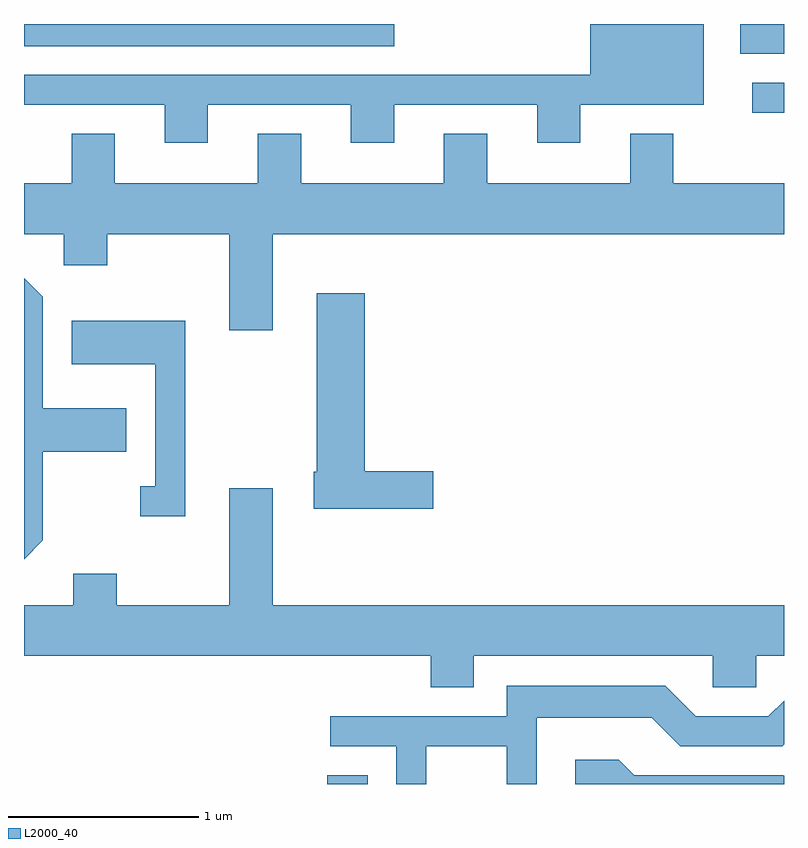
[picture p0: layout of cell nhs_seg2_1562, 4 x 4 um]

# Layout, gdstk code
import gdstk
lib = gdstk.Library(unit=1e-6, precision=1e-09)
def R(c, l, rs):  # rectangles x0, y0, x1, y1
    for r in rs: c.add(gdstk.rectangle(r[:2], r[2:], *l))
def P(c, l, *ps):  # polygons
    for p in ps: c.add(gdstk.Polygon(p, *l))
L2000_40 = (2000, 40)

nhs_seg2_1562 = lib.new_cell('nhs_seg2_1562')
R(nhs_seg2_1562, L2000_40, [(231.206,1109.802,231.419,1109.849), (233.443,1113.336,233.611,1113.494), (233.381,1113.646,233.611,1113.802), (229.611,1113.686,231.559,1113.802)])
P(nhs_seg2_1562, L2000_40, [(230.579,1113.376),(231.331,1113.376),(231.331,1113.176),(231.559,1113.176),(231.559,1113.376),(232.311,1113.376),(232.311,1113.176),(232.539,1113.176),(232.539,1113.376),(233.189,1113.376),(233.189,1113.802),(232.591,1113.802),(232.591,1113.534),(229.611,1113.534),(229.611,1113.376),(230.351,1113.376),(230.351,1113.176),(230.579,1113.176)],
  [(230.919,1112.696),(233.611,1112.696),(233.611,1112.964),(233.029,1112.964),(233.029,1113.224),(232.801,1113.224),(232.801,1112.964),(232.049,1112.964),(232.049,1113.224),(231.821,1113.224),(231.821,1112.964),(231.069,1112.964),(231.069,1113.224),(230.841,1113.224),(230.841,1112.964),(230.089,1112.964),(230.089,1113.224),(229.861,1113.224),(229.861,1112.964),(229.611,1112.964),(229.611,1112.696),(229.821,1112.696),(229.821,1112.531),(230.049,1112.531),(230.049,1112.696),(230.691,1112.696),(230.691,1112.191),(230.919,1112.191)],
  [(229.709,1111.084),(229.709,1111.551),(230.149,1111.551),(230.149,1111.779),(229.709,1111.779),(229.709,1112.367),(229.611,1112.465),(229.611,1110.985)],
  [(231.764,1111.449),(231.404,1111.449),(231.404,1112.384),(231.151,1112.384),(231.151,1111.445),(231.136,1111.445),(231.136,1111.251),(231.764,1111.251)],
  [(230.459,1112.239),(229.861,1112.239),(229.861,1112.011),(230.301,1112.011),(230.301,1111.369),(230.223,1111.369),(230.223,1111.211),(230.459,1111.211)],
  [(231.979,1110.476),(233.236,1110.476),(233.236,1110.311),(233.464,1110.311),(233.464,1110.476),(233.611,1110.476),(233.611,1110.744),(230.919,1110.744),(230.919,1111.359),(230.691,1111.359),(230.691,1110.744),(230.099,1110.744),(230.099,1110.909),(229.871,1110.909),(229.871,1110.744),(229.611,1110.744),(229.611,1110.476),(231.751,1110.476),(231.751,1110.311),(231.979,1110.311)],
  [(231.729,1110.001),(232.151,1110.001),(232.151,1109.802),(232.309,1109.802),(232.309,1110.151),(232.914,1110.151),(233.064,1110.001),(233.602,1110.001),(233.611,1110.01),(233.611,1110.241),(233.529,1110.159),(233.147,1110.159),(232.987,1110.319),(232.151,1110.319),(232.151,1110.159),(231.223,1110.159),(231.223,1110.001),(231.571,1110.001),(231.571,1109.802),(231.729,1109.802)],
  [(233.611,1109.845),(233.607,1109.849),(232.822,1109.849),(232.742,1109.929),(232.513,1109.929),(232.513,1109.802),(233.611,1109.802)])

lib.write_gds('nhs_seg2_1562.gds')
